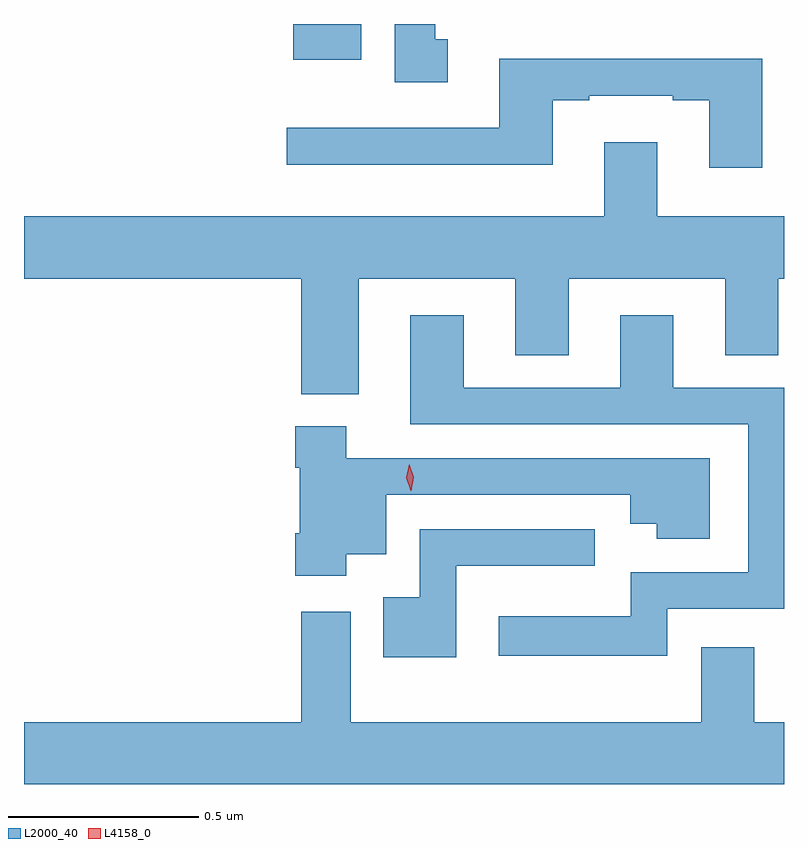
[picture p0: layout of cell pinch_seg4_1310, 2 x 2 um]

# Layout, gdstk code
import gdstk
lib = gdstk.Library(unit=1e-6, precision=1e-09)
def R(c, l, rs):  # rectangles x0, y0, x1, y1
    for r in rs: c.add(gdstk.rectangle(r[:2], r[2:], *l))
def P(c, l, *ps):  # polygons
    for p in ps: c.add(gdstk.Polygon(p, *l))
L2000_40 = (2000, 40)
L4158_0 = (4158, 0)

pinch_seg4_1310 = lib.new_cell('pinch_seg4_1310')
R(pinch_seg4_1310, L2000_40, [(378.686,768.092,378.865,768.186)])
P(pinch_seg4_1310, L2000_40, [(379.093,768.146),(379.06,768.146),(379.06,768.186),(378.953,768.186),(378.953,768.033),(379.093,768.033)],
  [(379.921,768.094),(379.229,768.094),(379.229,767.913),(378.669,767.913),(378.669,767.816),(379.369,767.816),(379.369,767.985),(379.465,767.985),(379.465,767.997),(379.685,767.997),(379.685,767.985),(379.781,767.985),(379.781,767.808),(379.921,767.808)],
  [(378.859,767.516),(379.271,767.516),(379.271,767.314),(379.411,767.314),(379.411,767.516),(379.823,767.516),(379.823,767.314),(379.963,767.314),(379.963,767.516),(379.978,767.516),(379.978,767.68),(379.645,767.68),(379.645,767.875),(379.505,767.875),(379.505,767.68),(377.978,767.68),(377.978,767.516),(378.707,767.516),(378.707,767.212),(378.859,767.212)],
  [(379.671,766.647),(379.978,766.647),(379.978,767.229),(379.687,767.229),(379.687,767.419),(379.547,767.419),(379.547,767.229),(379.135,767.229),(379.135,767.419),(378.995,767.419),(378.995,767.133),(379.884,767.133),(379.884,766.743),(379.575,766.743),(379.575,766.627),(379.227,766.627),(379.227,766.523),(379.671,766.523)],
  [(378.826,766.79),(378.931,766.79),(378.931,766.947),(379.574,766.947),(379.574,766.871),(379.643,766.871),(379.643,766.832),(379.783,766.832),(379.783,767.043),(378.826,767.043),(378.826,767.127),(378.692,767.127),(378.692,767.018),(378.704,767.018),(378.704,766.846),(378.692,766.846),(378.692,766.734),(378.826,766.734)],
  [(379.116,766.76),(379.48,766.76),(379.48,766.857),(379.02,766.857),(379.02,766.678),(378.923,766.678),(378.923,766.52),(379.116,766.52)],
  [(379.978,766.348),(379.9,766.348),(379.9,766.546),(379.76,766.546),(379.76,766.348),(378.838,766.348),(378.838,766.639),(378.707,766.639),(378.707,766.348),(377.978,766.348),(377.978,766.186),(379.978,766.186)])
P(pinch_seg4_1310, L4158_0, [(378.996,766.958),(378.984,766.992),(378.992,767.028),(378.992,767.028),(378.992,767.028),(379.004,766.993),(378.997,766.958),(378.997,766.958)])

lib.write_gds('pinch_seg4_1310.gds')
